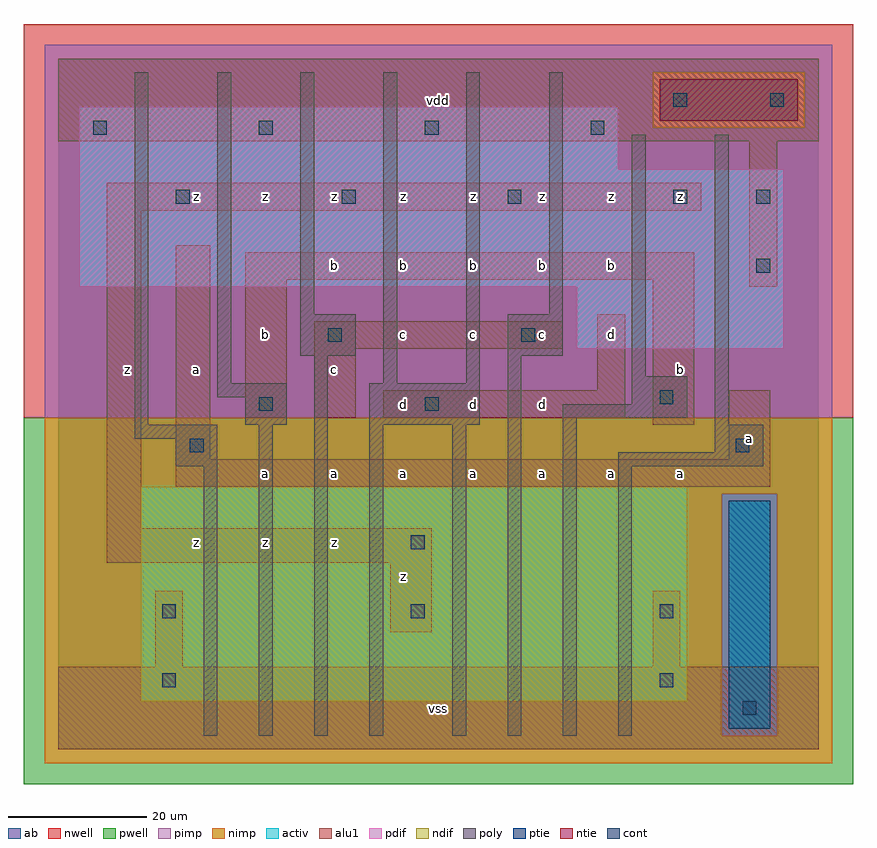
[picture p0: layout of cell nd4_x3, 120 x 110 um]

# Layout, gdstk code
import gdstk
lib = gdstk.Library(unit=1e-6, precision=1e-09)
def R(c, l, rs):  # rectangles x0, y0, x1, y1
    for r in rs: c.add(gdstk.rectangle(r[:2], r[2:], *l))
def A(c, l, x, y, w, h, nx, ny, dx, dy):  # array of equal rectangles
    R(c, l, [(x+i*dx, y+j*dy, x+i*dx+w, y+j*dy+h) for i in range(nx) for j in range(ny)])
ndif = (3, 0)
pdif = (4, 0)
ntie = (5, 0)
ptie = (6, 0)
cont = (25, 0)
pwell = (41, 0)
nwell = (42, 0)
activ = (43, 0)
pimp = (44, 0)
nimp = (45, 0)
poly = (46, 0)
alu1 = (49, 0)
ab = (63, 0)

nd4_x3 = lib.new_cell('nd4_x3')
R(nd4_x3, ndif, [(12,7,91,38)])
R(nd4_x3, pdif, [(75,58,105,67), (3,67,105,84), (3,84,81,93)])
R(nd4_x3, ntie, [(87,91,107,97)])
R(nd4_x3, ptie, [(97,3,103,36)])
A(nd4_x3, cont, 15, 19, 2, 2, 3, 1, 36, 0)
A(nd4_x3, cont, 17, 79, 2, 2, 4, 1, 24, 0)
A(nd4_x3, cont, 5, 89, 2, 2, 4, 1, 24, 0)
R(nd4_x3, cont, [(99,5,101,7), (15,9,17,11), (87,9,89,11), (51,29,53,31), (19,43,21,45), (98,43,100,45), (29,49,31,51), (53,49,55,51), (87,50,89,52), (39,59,41,61), (67,59,69,61), (101,69,103,71), (101,79,103,81), (89,93,91,95), (103,93,105,95)])
R(nd4_x3, pwell, [(-5,-5,115,48)])
R(nd4_x3, nwell, [(-5,48,115,105)])
R(nd4_x3, activ, [(97,3,103,36), (12,7,91,38), (75,58,105,67), (3,67,105,84), (3,84,81,93), (87,91,107,97)])
R(nd4_x3, pimp, [(96,2,104,37), (-2,48,112,90), (-2,90,86,98), (108,90,112,98), (-2,98,112,102)])
R(nd4_x3, nimp, [(-2,-2,112,2), (-2,2,96,37), (104,2,112,37), (-2,37,112,48), (86,90,108,98)])
R(nd4_x3, poly, [(21,2,23,41), (29,2,31,47), (37,2,39,57), (45,2,47,47), (57,2,59,47), (65,2,67,57), (73,2,75,48), (81,2,83,41), (17,41,23,45), (81,41,102,43), (95,43,102,47), (11,45,23,47), (11,47,13,98), (27,47,33,51), (45,47,61,53), (95,47,97,89), (73,48,91,50), (83,50,91,54), (23,51,33,53), (23,53,25,98), (47,53,49,98), (59,53,61,98), (83,54,85,89), (35,57,43,63), (65,57,73,63), (35,63,37,98), (71,63,73,98)])
R(nd4_x3, alu1, [(0,0,110,12), (14,12,18,23), (86,12,90,23), (48,17,54,27), (7,27,54,32), (7,32,12,78), (17,38,103,42), (17,42,22,73), (97,42,103,52), (86,47,92,68), (27,48,33,68), (37,48,43,58), (47,48,82,52), (78,52,82,63), (37,58,73,62), (100,67,104,88), (27,68,92,72), (7,78,93,82), (0,88,110,100)])
R(nd4_x3, ab, [(0,0,110,100)])
nd4_x3.add(gdstk.Label('z', (10,55), layer=49, texttype=0))
nd4_x3.add(gdstk.Label('z', (20,30), layer=49, texttype=0))
nd4_x3.add(gdstk.Label('z', (40,30), layer=49, texttype=0))
nd4_x3.add(gdstk.Label('z', (30,30), layer=49, texttype=0))
nd4_x3.add(gdstk.Label('a', (30,40), layer=49, texttype=0))
nd4_x3.add(gdstk.Label('a', (40,40), layer=49, texttype=0))
nd4_x3.add(gdstk.Label('a', (20,55), layer=49, texttype=0))
nd4_x3.add(gdstk.Label('c', (40,55), layer=49, texttype=0))
nd4_x3.add(gdstk.Label('b', (30,60), layer=49, texttype=0))
nd4_x3.add(gdstk.Label('b', (40,70), layer=49, texttype=0))
nd4_x3.add(gdstk.Label('z', (30,80), layer=49, texttype=0))
nd4_x3.add(gdstk.Label('z', (40,80), layer=49, texttype=0))
nd4_x3.add(gdstk.Label('z', (20,80), layer=49, texttype=0))
nd4_x3.add(gdstk.Label('vss', (55,6), layer=49, texttype=0))
nd4_x3.add(gdstk.Label('z', (50,25), layer=49, texttype=0))
nd4_x3.add(gdstk.Label('a', (50,40), layer=49, texttype=0))
nd4_x3.add(gdstk.Label('a', (60,40), layer=49, texttype=0))
nd4_x3.add(gdstk.Label('d', (50,50), layer=49, texttype=0))
nd4_x3.add(gdstk.Label('d', (60,50), layer=49, texttype=0))
nd4_x3.add(gdstk.Label('c', (60,60), layer=49, texttype=0))
nd4_x3.add(gdstk.Label('c', (50,60), layer=49, texttype=0))
nd4_x3.add(gdstk.Label('b', (50,70), layer=49, texttype=0))
nd4_x3.add(gdstk.Label('b', (60,70), layer=49, texttype=0))
nd4_x3.add(gdstk.Label('z', (50,80), layer=49, texttype=0))
nd4_x3.add(gdstk.Label('z', (60,80), layer=49, texttype=0))
nd4_x3.add(gdstk.Label('vdd', (55,94), layer=49, texttype=0))
nd4_x3.add(gdstk.Label('a', (80,40), layer=49, texttype=0))
nd4_x3.add(gdstk.Label('a', (70,40), layer=49, texttype=0))
nd4_x3.add(gdstk.Label('d', (70,50), layer=49, texttype=0))
nd4_x3.add(gdstk.Label('d', (80,60), layer=49, texttype=0))
nd4_x3.add(gdstk.Label('c', (70,60), layer=49, texttype=0))
nd4_x3.add(gdstk.Label('b', (70,70), layer=49, texttype=0))
nd4_x3.add(gdstk.Label('b', (80,70), layer=49, texttype=0))
nd4_x3.add(gdstk.Label('z', (80,80), layer=49, texttype=0))
nd4_x3.add(gdstk.Label('z', (70,80), layer=49, texttype=0))
nd4_x3.add(gdstk.Label('a', (90,40), layer=49, texttype=0))
nd4_x3.add(gdstk.Label('b', (90,55), layer=49, texttype=0))
nd4_x3.add(gdstk.Label('a', (100,45), layer=49, texttype=0))
nd4_x3.add(gdstk.Label('z', (90,80), layer=49, texttype=0))

lib.write_gds('nd4_x3.gds')
